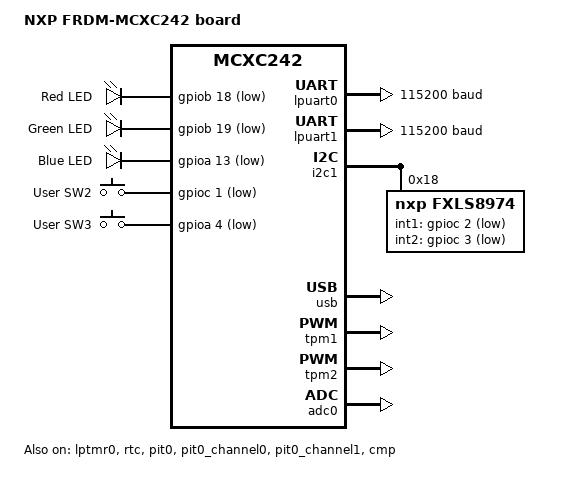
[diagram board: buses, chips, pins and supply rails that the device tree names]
/*
 * Copyright 2024-2025 NXP
 *
 * SPDX-License-Identifier: Apache-2.0
 */

/dts-v1/;

#include <nxp/nxp_mcxc242.dtsi>
#include "frdm_mcxc242-pinctrl.dtsi"
#include <zephyr/dt-bindings/input/input-event-codes.h>

/ {
	model = "NXP FRDM-MCXC242 board";
	compatible = "nxp,mcxc242", "nxp,mcx";

	aliases {
		led0 = &red_led;
		led1 = &green_led;
		led2 = &blue_led;
		pwm-led0 = &red_pwm_led;
		pwm-led1 = &green_pwm_led;
		pwm-led2 = &blue_pwm_led;
		red-pwm-led = &red_pwm_led;
		green-pwm-led = &green_pwm_led;
		blue-pwm-led = &blue_pwm_led;
		sw0 = &user_button_2;
		sw1 = &user_button_3;
		accel0 = &fxls8974;
		pwm-0 = &tpm1;
	};

	chosen {
		zephyr,sram = &sram0;
		zephyr,flash = &flash0;
		zephyr,console = &lpuart0;
		zephyr,shell-uart = &lpuart0;
	};

	leds {
		compatible = "gpio-leds";

		red_led: led_0 {
			gpios = <&gpiob 18 GPIO_ACTIVE_LOW>;
			label = "Red LED";
		};

		green_led: led_1 {
			gpios = <&gpiob 19 GPIO_ACTIVE_LOW>;
			label = "Green LED";
		};

		blue_led: led_2 {
			gpios = <&gpioa 13 GPIO_ACTIVE_LOW>;
			label = "Blue LED";
		};
	};

	pwmleds {
		compatible = "pwm-leds";
		status = "disabled";

		red_pwm_led: pwm_led_0 {
			pwms = <&tpm2 0 PWM_MSEC(20) PWM_POLARITY_INVERTED>;
			label = "PWM Red LED";
		};

		green_pwm_led: pwm_led_1 {
			pwms = <&tpm2 1 PWM_MSEC(20) PWM_POLARITY_INVERTED>;
			label = "PWM Green LED";
		};

		blue_pwm_led: pwm_led_2 {
			pwms = <&tpm1 1 PWM_MSEC(20) PWM_POLARITY_INVERTED>;
			label = "PWM Blue LED";
		};
	};

	gpio_keys {
		compatible = "gpio-keys";

		user_button_2: button_2 {
			label = "User SW2";
			gpios = <&gpioc 1 GPIO_ACTIVE_LOW>;
			zephyr,code = <INPUT_KEY_0>;
		};

		user_button_3: button_3 {
			label = "User SW3";
			gpios = <&gpioa 4 GPIO_ACTIVE_LOW>;
			zephyr,code = <INPUT_KEY_1>;
		};
	};
};

&sim {
	pllfll-select = <KINETIS_SIM_PLLFLLSEL_MCGPLLCLK>;
	er32k-select = <KINETIS_SIM_ER32KSEL_OSC32KCLK>;
};

&cpu0 {
	clock-frequency = <DT_FREQ_M(48)>;
};

&osc {
	clock-frequency = <32768>;
	mode = "low-power";
};

&gpioa {
	status = "okay";
};

&gpiob {
	status = "okay";
};

&gpioc {
	status = "okay";
};

&gpioe {
	status = "okay";
};

&lpuart0 {
	status = "okay";
	current-speed = <115200>;
	pinctrl-0 = <&pinmux_lpuart0>;
	pinctrl-names = "default";
};

&lpuart1 {
	status = "okay";
	current-speed = <115200>;
	pinctrl-0 = <&pinmux_lpuart1>;
	pinctrl-names = "default";
};

&uart2 {
	status = "disabled";
	current-speed = <115200>;
	pinctrl-0 = <&pinmux_uart2>;
	pinctrl-names = "default";
};

i2c1: &i2c1 {
	status = "okay";
	pinctrl-0 = <&pinmux_i2c1>;
	pinctrl-names = "default";

	fxls8974: fxls8974@18 {
		status = "okay";
		compatible = "nxp,fxls8974";
		reg = <0x18>;
		int1-gpios = <&gpioc 2 GPIO_ACTIVE_LOW>;
		int2-gpios = <&gpioc 3 GPIO_ACTIVE_LOW>;
	};
};

zephyr_udc0: &usb {
	status = "okay";
	num-bidir-endpoints = <8>;
};

&tpm1 {
	status = "okay";
	pinctrl-0 = <&pinmux_tpm1>;
	pinctrl-names = "default";
};

&tpm2 {
	status = "okay";
	pinctrl-0 = <&pinmux_tpm2>;
	pinctrl-names = "default";
};

&adc0 {
	status = "okay";
	pinctrl-0 = <&pinmux_adc0>;
	pinctrl-names = "default";
};

&lptmr0 {
	status = "okay";
};

&rtc {
	status = "okay";
};

&pit0 {
	status = "okay";
};

&pit0_channel0 {
	status = "okay";
};

&pit0_channel1 {
	status = "okay";
};

&cmp {
	status = "okay";
	pinctrl-0 = <&pinmux_cmp>;
	pinctrl-names = "default";
};
